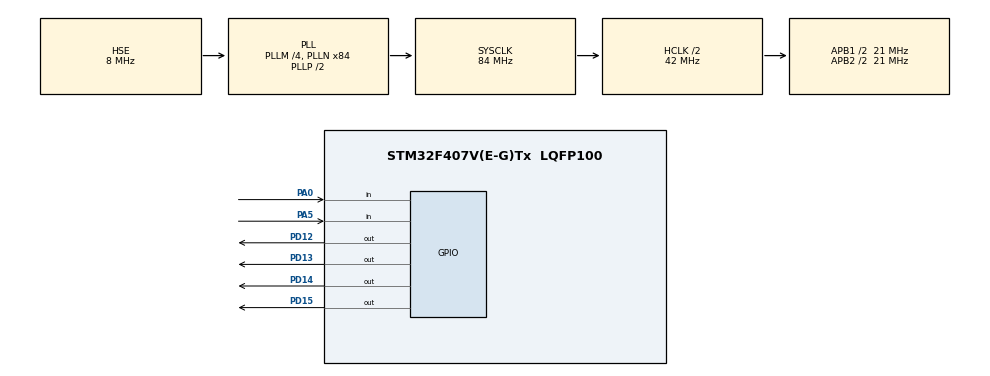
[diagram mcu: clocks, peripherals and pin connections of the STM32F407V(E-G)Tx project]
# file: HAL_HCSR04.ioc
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Mcu.Family=STM32F4
Mcu.Name=STM32F407V(E-G)Tx
Mcu.Package=LQFP100
NVIC.PriorityGroup=NVIC_PRIORITYGROUP_4
PA0-WKUP.GPIO_PuPd=GPIO_PULLDOWN
PA0-WKUP.Signal=GPIO_Input
PA13.Mode=Serial_Wire
PA13.Signal=SYS_JTMS-SWDIO
PA14.Mode=Serial_Wire
PA14.Signal=SYS_JTCK-SWCLK
PA5.Signal=GPIO_Input
PD12.Signal=GPIO_Output
PD13.Signal=GPIO_Output
PD14.Signal=GPIO_Output
PD15.Signal=GPIO_Output
PH0-OSC_IN.Mode=HSE-External-Oscillator
PH0-OSC_IN.Signal=RCC_OSC_IN
PH1-OSC_OUT.Mode=HSE-External-Oscillator
PH1-OSC_OUT.Signal=RCC_OSC_OUT
ProjectManager.HeapSize=0x200
ProjectManager.StackSize=0x400
ProjectManager.TargetToolchain=STM32CubeIDE
RCC.48MHZClocksFreq_Value=42000000
RCC.AHBCLKDivider=RCC_SYSCLK_DIV2
RCC.AHBFreq_Value=42000000
RCC.APB1CLKDivider=RCC_HCLK_DIV2
RCC.APB1Freq_Value=21000000
RCC.APB1TimFreq_Value=42000000
RCC.APB2CLKDivider=RCC_HCLK_DIV2
RCC.APB2Freq_Value=21000000
RCC.APB2TimFreq_Value=42000000
RCC.CortexFreq_Value=42000000
RCC.HCLKFreq_Value=42000000
RCC.HSE_VALUE=8000000
RCC.HSI_VALUE=16000000
RCC.LSE_VALUE=32768
RCC.PLLM=4
RCC.PLLN=84
RCC.PLLSourceVirtual=RCC_PLLSOURCE_HSE
RCC.SYSCLKFreq_VALUE=84000000
RCC.SYSCLKSource=RCC_SYSCLKSOURCE_PLLCLK
RCC.VCOOutputFreq_Value=168000000
TIM2.Period=999
TIM2.Prescaler=41999
VP_TIM2_VS_ClockSourceINT.Mode=Internal
board=custom

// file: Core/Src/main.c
/* USER CODE BEGIN Header */
/**
  ******************************************************************************
  * @file           : main.c
  * @brief          : Main program body
  ******************************************************************************
  * @attention
  *
  * Copyright (c) 2023 STMicroelectronics.
  * All rights reserved.
  *
  * This software is licensed under terms that can be found in the LICENSE file
  * in the root directory of this software component.
  * If no LICENSE file comes with this software, it is provided AS-IS.
  *
  ******************************************************************************
  */
/* USER CODE END Header */
#include "main.h"

/* USER CODE BEGIN Includes */

#define TRIG_PIN GPIO_PIN_6
#define TRIG_PORT GPIOA
#define ECHO_PIN GPIO_PIN_0
#define ECHO_PORT GPIOA

float time;
float distance;
float currentTime;

/* USER CODE END Includes */

TIM_HandleTypeDef htim2;

void SystemClock_Config(void);
static void MX_GPIO_Init(void);
static void MX_TIM2_Init(void);

int main(void)
{

  /* MCU Configuration--------------------------------------------------------*/

  /* Reset of all peripherals, Initializes the Flash interface and the Systick. */
  HAL_Init();

  /* Configure the system clock */
  SystemClock_Config();

  /* Initialize all configured peripherals */
  MX_GPIO_Init();
  MX_TIM2_Init();

  /* Infinite loop */
  while (1)
  {

    /* USER CODE BEGIN 3 */
	  HAL_GPIO_WritePin(TRIG_PORT, TRIG_PIN, 1);
	  HAL_Delay(0.01);
	  HAL_GPIO_WritePin(TRIG_PORT, TRIG_PIN, 0);

	  while(!(HAL_GPIO_ReadPin(ECHO_PORT, ECHO_PIN)));
	  // Zamanlayıcıyı başlat.
	  HAL_TIM_Base_Start(&htim2);

	  while(HAL_GPIO_ReadPin(ECHO_PORT, ECHO_PIN));
	  // Zamanlayıcıyı sonlandır.
	  HAL_TIM_Base_Stop(&htim2);

	  // Timer değerini al.
	  time = 		__HAL_TIM_GET_COUNTER(&htim2);
	  currentTime = __HAL_TIM_GET_COUNTER(&htim2);

	  // Saniye değerini microsaniye değerine çevir.
	  time = (float)time*1000;

	  // Zamanı kullanarak aradaki mesafeyi ölç.
	  distance = (float)time/58.2;

	  if((distance < 40) && (distance >= 30))
	  {
		  HAL_GPIO_WritePin(GPIOD,GPIO_PIN_12,GPIO_PIN_SET);
		  HAL_GPIO_WritePin(GPIOD,GPIO_PIN_13,GPIO_PIN_RESET);
		  HAL_GPIO_WritePin(GPIOD,GPIO_PIN_14,GPIO_PIN_RESET);
		  HAL_GPIO_WritePin(GPIOD,GPIO_PIN_15,GPIO_PIN_RESET);
	  }
	  else if((distance < 30) && (distance >= 20))
	  {
		  HAL_GPIO_WritePin(GPIOD,GPIO_PIN_12,GPIO_PIN_RESET);
		  HAL_GPIO_WritePin(GPIOD,GPIO_PIN_13,GPIO_PIN_SET);
		  HAL_GPIO_WritePin(GPIOD,GPIO_PIN_14,GPIO_PIN_RESET);
		  HAL_GPIO_WritePin(GPIOD,GPIO_PIN_15,GPIO_PIN_RESET);
	  }
	  else if((distance < 20) && (distance >= 10))
	  {
		  HAL_GPIO_WritePin(GPIOD,GPIO_PIN_12,GPIO_PIN_RESET);
		  HAL_GPIO_WritePin(GPIOD,GPIO_PIN_13,GPIO_PIN_RESET);
		  HAL_GPIO_WritePin(GPIOD,GPIO_PIN_14,GPIO_PIN_SET);
		  HAL_GPIO_WritePin(GPIOD,GPIO_PIN_15,GPIO_PIN_RESET);
	  }
	  else if((distance < 10))
	  {
		  HAL_GPIO_WritePin(GPIOD,GPIO_PIN_12,GPIO_PIN_RESET);
		  HAL_GPIO_WritePin(GPIOD,GPIO_PIN_13,GPIO_PIN_RESET);
		  HAL_GPIO_WritePin(GPIOD,GPIO_PIN_14,GPIO_PIN_RESET);
		  HAL_GPIO_WritePin(GPIOD,GPIO_PIN_15,GPIO_PIN_SET);
	  }

	  __HAL_TIM_SET_COUNTER(&htim2,0);

  }
  /* USER CODE END 3 */
}

void SystemClock_Config(void)
{
  RCC_OscInitTypeDef RCC_OscInitStruct = {0};
  RCC_ClkInitTypeDef RCC_ClkInitStruct = {0};

  /** Configure the main internal regulator output voltage
  */
  __HAL_RCC_PWR_CLK_ENABLE();
  __HAL_PWR_VOLTAGESCALING_CONFIG(PWR_REGULATOR_VOLTAGE_SCALE1);

  /** Initializes the RCC Oscillators according to the specified parameters
  * in the RCC_OscInitTypeDef structure.
  */
  RCC_OscInitStruct.OscillatorType = RCC_OSCILLATORTYPE_HSE;
  RCC_OscInitStruct.HSEState = RCC_HSE_ON;
  RCC_OscInitStruct.PLL.PLLState = RCC_PLL_ON;
  RCC_OscInitStruct.PLL.PLLSource = RCC_PLLSOURCE_HSE;
  RCC_OscInitStruct.PLL.PLLM = 4;
  RCC_OscInitStruct.PLL.PLLN = 84;
  RCC_OscInitStruct.PLL.PLLP = RCC_PLLP_DIV2;
  RCC_OscInitStruct.PLL.PLLQ = 4;
  if (HAL_RCC_OscConfig(&RCC_OscInitStruct) != HAL_OK)
  {
    Error_Handler();
  }

  /** Initializes the CPU, AHB and APB buses clocks
  */
  RCC_ClkInitStruct.ClockType = RCC_CLOCKTYPE_HCLK|RCC_CLOCKTYPE_SYSCLK
                              |RCC_CLOCKTYPE_PCLK1|RCC_CLOCKTYPE_PCLK2;
  RCC_ClkInitStruct.SYSCLKSource = RCC_SYSCLKSOURCE_PLLCLK;
  RCC_ClkInitStruct.AHBCLKDivider = RCC_SYSCLK_DIV2;
  RCC_ClkInitStruct.APB1CLKDivider = RCC_HCLK_DIV2;
  RCC_ClkInitStruct.APB2CLKDivider = RCC_HCLK_DIV2;

  if (HAL_RCC_ClockConfig(&RCC_ClkInitStruct, FLASH_LATENCY_1) != HAL_OK)
  {
    Error_Handler();
  }
}

static void MX_TIM2_Init(void)
{

  TIM_ClockConfigTypeDef sClockSourceConfig = {0};
  TIM_MasterConfigTypeDef sMasterConfig = {0};

  htim2.Instance = TIM2;
  htim2.Init.Prescaler = 41999;
  htim2.Init.CounterMode = TIM_COUNTERMODE_UP;
  htim2.Init.Period = 999;
  htim2.Init.ClockDivision = TIM_CLOCKDIVISION_DIV1;
  htim2.Init.AutoReloadPreload = TIM_AUTORELOAD_PRELOAD_DISABLE;
  if (HAL_TIM_Base_Init(&htim2) != HAL_OK)
  {
    Error_Handler();
  }
  sClockSourceConfig.ClockSource = TIM_CLOCKSOURCE_INTERNAL;
  if (HAL_TIM_ConfigClockSource(&htim2, &sClockSourceConfig) != HAL_OK)
  {
    Error_Handler();
  }
  sMasterConfig.MasterOutputTrigger = TIM_TRGO_RESET;
  sMasterConfig.MasterSlaveMode = TIM_MASTERSLAVEMODE_DISABLE;
  if (HAL_TIMEx_MasterConfigSynchronization(&htim2, &sMasterConfig) != HAL_OK)
  {
    Error_Handler();
  }

}

static void MX_GPIO_Init(void)
{
  GPIO_InitTypeDef GPIO_InitStruct = {0};

  /* GPIO Ports Clock Enable */
  __HAL_RCC_GPIOH_CLK_ENABLE();
  __HAL_RCC_GPIOA_CLK_ENABLE();
  __HAL_RCC_GPIOD_CLK_ENABLE();

  /*Configure GPIO pin Output Level */
  HAL_GPIO_WritePin(GPIOD, GPIO_PIN_12|GPIO_PIN_13|GPIO_PIN_14|GPIO_PIN_15, GPIO_PIN_RESET);

  /*Configure GPIO pin : PA0 */
  GPIO_InitStruct.Pin = GPIO_PIN_0;
  GPIO_InitStruct.Mode = GPIO_MODE_INPUT;
  GPIO_InitStruct.Pull = GPIO_PULLDOWN;
  HAL_GPIO_Init(GPIOA, &GPIO_InitStruct);

  /*Configure GPIO pin : PA5 */
  GPIO_InitStruct.Pin = GPIO_PIN_5;
  GPIO_InitStruct.Mode = GPIO_MODE_INPUT;
  GPIO_InitStruct.Pull = GPIO_NOPULL;
  HAL_GPIO_Init(GPIOA, &GPIO_InitStruct);

  /*Configure GPIO pins : PD12 PD13 PD14 PD15 */
  GPIO_InitStruct.Pin = GPIO_PIN_12|GPIO_PIN_13|GPIO_PIN_14|GPIO_PIN_15;
  GPIO_InitStruct.Mode = GPIO_MODE_OUTPUT_PP;
  GPIO_InitStruct.Pull = GPIO_NOPULL;
  GPIO_InitStruct.Speed = GPIO_SPEED_FREQ_LOW;
  HAL_GPIO_Init(GPIOD, &GPIO_InitStruct);

}

void Error_Handler(void)
{
  __disable_irq();
  while (1)
  {
  }
}
